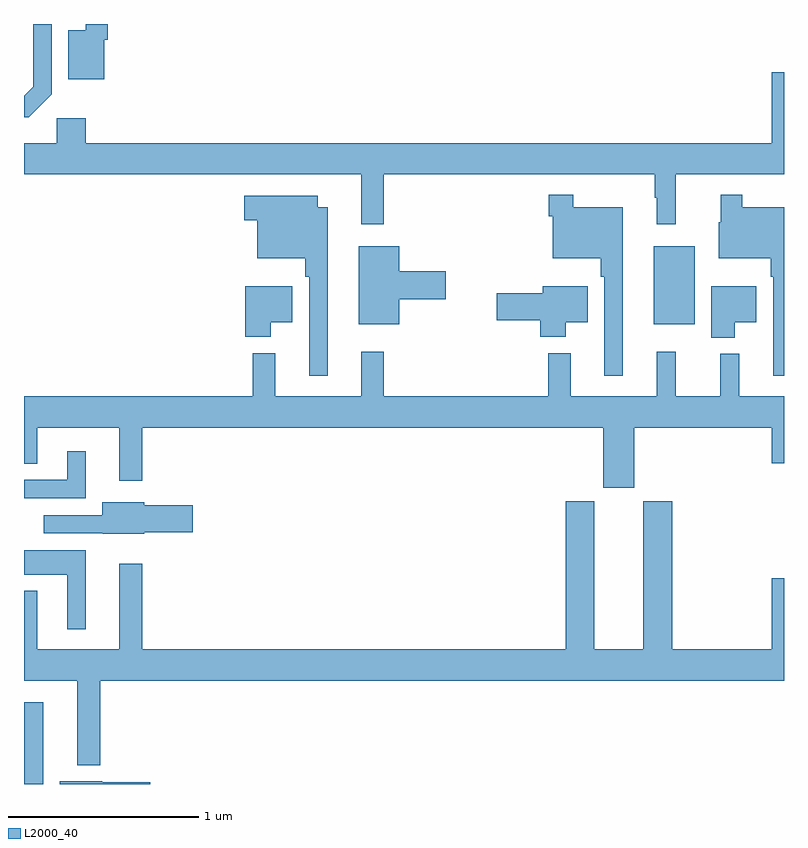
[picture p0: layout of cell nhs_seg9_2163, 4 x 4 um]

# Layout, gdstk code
import gdstk
lib = gdstk.Library(unit=1e-6, precision=1e-09)
def R(c, l, rs):  # rectangles x0, y0, x1, y1
    for r in rs: c.add(gdstk.rectangle(r[:2], r[2:], *l))
def P(c, l, *ps):  # polygons
    for p in ps: c.add(gdstk.Polygon(p, *l))
L2000_40 = (2000, 40)

nhs_seg9_2163 = lib.new_cell('nhs_seg9_2163')
R(nhs_seg9_2163, L2000_40, [(233,1238.5,233.101,1238.929), (236.315,1240.919,236.53,1241.329)])
P(nhs_seg9_2163, L2000_40, [(233.145,1242.129),(233.145,1242.5),(233.049,1242.5),(233.049,1242.171),(233,1242.122),(233,1242.008),(233.024,1242.008)],
  [(233.422,1242.417),(233.441,1242.417),(233.441,1242.5),(233.324,1242.5),(233.324,1242.466),(233.234,1242.466),(233.234,1242.209),(233.422,1242.209)],
  [(234.893,1241.708),(236.319,1241.708),(236.319,1241.585),(236.33,1241.585),(236.33,1241.445),(236.43,1241.445),(236.43,1241.708),(237,1241.708),(237,1242.247),(236.936,1242.247),(236.936,1241.872),(233.324,1241.872),(233.324,1242.004),(233.172,1242.004),(233.172,1241.872),(233,1241.872),(233,1241.708),(234.775,1241.708),(234.775,1241.445),(234.893,1241.445)],
  [(236.152,1241.536),(235.891,1241.536),(235.891,1241.602),(235.762,1241.602),(235.762,1241.489),(235.782,1241.489),(235.782,1241.267),(236.035,1241.267),(236.035,1241.171),(236.055,1241.171),(236.055,1240.65),(236.152,1240.65)],
  [(237,1241.536),(236.779,1241.536),(236.779,1241.602),(236.668,1241.602),(236.668,1241.457),(236.657,1241.457),(236.657,1241.267),(236.931,1241.267),(236.931,1241.171),(236.943,1241.171),(236.943,1240.65),(237,1240.65)],
  [(234.598,1241.536),(234.547,1241.536),(234.547,1241.596),(234.159,1241.596),(234.159,1241.467),(234.227,1241.467),(234.227,1241.267),(234.481,1241.267),(234.481,1241.171),(234.501,1241.171),(234.501,1240.65),(234.598,1240.65)],
  [(234.976,1241.051),(235.219,1241.051),(235.219,1241.198),(234.976,1241.198),(234.976,1241.329),(234.761,1241.329),(234.761,1240.919),(234.976,1240.919)],
  [(236.74,1240.931),(236.854,1240.931),(236.854,1241.119),(236.618,1241.119),(236.618,1240.85),(236.74,1240.85)],
  [(235.852,1240.931),(235.966,1240.931),(235.966,1241.119),(235.73,1241.119),(235.73,1241.084),(235.488,1241.084),(235.488,1240.942),(235.718,1240.942),(235.718,1240.853),(235.852,1240.853)],
  [(234.298,1240.931),(234.412,1240.931),(234.412,1241.119),(234.164,1241.119),(234.164,1240.853),(234.298,1240.853)],
  [(236.212,1240.376),(236.936,1240.376),(236.936,1240.188),(237,1240.188),(237,1240.54),(236.765,1240.54),(236.765,1240.765),(236.665,1240.765),(236.665,1240.54),(236.43,1240.54),(236.43,1240.774),(236.33,1240.774),(236.33,1240.54),(235.877,1240.54),(235.877,1240.768),(235.759,1240.768),(235.759,1240.54),(234.893,1240.54),(234.893,1240.774),(234.776,1240.774),(234.776,1240.54),(234.323,1240.54),(234.323,1240.768),(234.205,1240.768),(234.205,1240.54),(233,1240.54),(233,1240.186),(233.071,1240.186),(233.071,1240.376),(233.501,1240.376),(233.501,1240.095),(233.623,1240.095),(233.623,1240.376),(236.048,1240.376),(236.048,1240.059),(236.212,1240.059)],
  [(233.326,1240.252),(233.228,1240.252),(233.228,1240.101),(233,1240.101),(233,1240.005),(233.326,1240.005)],
  [(233.401,1239.044),(237,1239.044),(237,1239.583),(236.936,1239.583),(236.936,1239.208),(236.411,1239.208),(236.411,1239.987),(236.258,1239.987),(236.258,1239.208),(236.002,1239.208),(236.002,1239.987),(235.85,1239.987),(235.85,1239.208),(233.623,1239.208),(233.623,1239.658),(233.501,1239.658),(233.501,1239.208),(233.071,1239.208),(233.071,1239.517),(233,1239.517),(233,1239.044),(233.279,1239.044),(233.279,1238.6),(233.401,1238.6)],
  [(233.634,1239.824),(233.887,1239.824),(233.887,1239.966),(233.634,1239.966),(233.634,1239.982),(233.411,1239.982),(233.411,1239.915),(233.103,1239.915),(233.103,1239.819),(233.415,1239.819),(233.415,1239.818),(233.634,1239.818)],
  [(233.326,1239.73),(233,1239.73),(233,1239.602),(233.228,1239.602),(233.228,1239.315),(233.326,1239.315)],
  [(233.665,1238.51),(233.412,1238.51),(233.412,1238.515),(233.189,1238.515),(233.189,1238.5),(233.665,1238.5)])

lib.write_gds('nhs_seg9_2163.gds')
